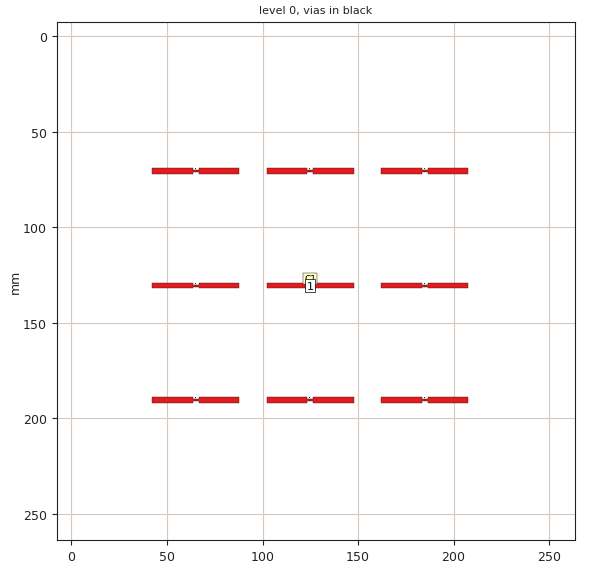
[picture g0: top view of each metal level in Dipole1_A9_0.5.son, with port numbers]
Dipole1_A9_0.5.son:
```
FTYP SONPROJ 19 ! Sonnet Project File
VER 18.53
HEADER
LIC SL637b08c1
DAT 12/05/2022 13:15:45
BUILT_BY_CREATED Unknown "Unknown Version" 09/08/2006 22:07:28
BUILT_BY_SAVED sonnet 18.53-Lite
MDATE 12/05/2022 12:35:30
HDATE 12/05/2022 12:35:30
END HEADER
DIM
ANG DEG
CAP PF
CON /OH
FREQ GHZ
IND NH
LNG MM
RES OH
END DIM
CONTROL
VARSWP
OPTIONS  -j
SPEED 1
CACHE_ABS 1
Q_ACC N
END CONTROL
GEO
TMET "Free Space" 0 FREESPACE 376.7303136 0 0 0
BMET "Free Space" 0 FREESPACE 376.7303136 0 0 0
MET "Cu35" 1 NOR 58000000 1 0.035 
BOX 2 256 256 2048 1024 20 0
      60 1 1 0 0 0 0 "Unnamed"
      1.54 4.3 1 0.015 0 0 0 "Unnamed"
      30 1 1 0 0 0 0 "Unnamed"
LORGN 0 256 U 
POR1 GAP
POLY 522 1
7
1 50 0 0 0 125 130.5 
SMD 0 "C1"
ID 530
GNDREF AUTO
SBOX 124.25 125.75 131.525 131.975
PBSHW N
LPOS 125 131.525
TYPE IDEAL CAP 0.5
SMDP 0 123.5 131.75 L 2 1 
EXSMDP
GNDREF AUTO
TERMW FEED
END EXSMDP
SMDP 0 126.5 131.75 R 3 2 
EXSMDP
GNDREF AUTO
TERMW FEED
END EXSMDP
END
NUM 36
0 9 0 N 520 1 1 100 100 0 0 0 Y
125 130
126.5 130
126.5 129
147.75 129
147.75 132
126.5 132
126.5 131
125 131
125 130
END
0 9 0 N 522 1 1 100 100 0 0 0 Y
125 130
123.5 130
123.5 129
102.25 129
102.25 132
123.5 132
123.5 131
125 131
125 130
END
VIA POLYGON
0 5 -1 N 551 1 1 100 100 0 0 0 Y
TOLEVEL 1 RING NOCOVERS
124.5 129
125 129
125 129.5
124.5 129.5
124.5 129
END
0 9 0 N 575 1 1 100 100 0 0 0 Y
125 70
123.5 70
123.5 69
102.25 69
102.25 72
123.5 72
123.5 71
125 71
125 70
END
0 9 0 N 576 1 1 100 100 0 0 0 Y
125 70
126.5 70
126.5 69
147.75 69
147.75 72
126.5 72
126.5 71
125 71
125 70
END
0 9 0 N 579 1 1 100 100 0 0 0 Y
125 190
123.5 190
123.5 189
102.25 189
102.25 192
123.5 192
123.5 191
125 191
125 190
END
0 9 0 N 581 1 1 100 100 0 0 0 Y
125 190
126.5 190
126.5 189
147.75 189
147.75 192
126.5 192
126.5 191
125 191
125 190
END
0 9 0 N 582 1 1 100 100 0 0 0 Y
65 190
66.5 190
66.5 189
87.75 189
87.75 192
66.5 192
66.5 191
65 191
65 190
END
0 9 0 N 583 1 1 100 100 0 0 0 Y
65 190
63.5 190
63.5 189
42.25 189
42.25 192
63.5 192
63.5 191
65 191
65 190
END
0 9 0 N 584 1 1 100 100 0 0 0 Y
65 130
66.5 130
66.5 129
87.75 129
87.75 132
66.5 132
66.5 131
65 131
65 130
END
0 9 0 N 585 1 1 100 100 0 0 0 Y
65 130
63.5 130
63.5 129
42.25 129
42.25 132
63.5 132
63.5 131
65 131
65 130
END
0 9 0 N 586 1 1 100 100 0 0 0 Y
65 70
66.5 70
66.5 69
87.75 69
87.75 72
66.5 72
66.5 71
65 71
65 70
END
0 9 0 N 587 1 1 100 100 0 0 0 Y
65 70
63.5 70
63.5 69
42.25 69
42.25 72
63.5 72
63.5 71
65 71
65 70
END
0 9 0 N 588 1 1 100 100 0 0 0 Y
185 70
183.5 70
183.5 69
162.25 69
162.25 72
183.5 72
183.5 71
185 71
185 70
END
0 9 0 N 589 1 1 100 100 0 0 0 Y
185 70
186.5 70
186.5 69
207.75 69
207.75 72
186.5 72
186.5 71
185 71
185 70
END
0 9 0 N 590 1 1 100 100 0 0 0 Y
185 130
183.5 130
183.5 129
162.25 129
162.25 132
183.5 132
183.5 131
185 131
185 130
END
0 9 0 N 591 1 1 100 100 0 0 0 Y
185 130
186.5 130
186.5 129
207.75 129
207.75 132
186.5 132
186.5 131
185 131
185 130
END
0 9 0 N 592 1 1 100 100 0 0 0 Y
185 190
183.5 190
183.5 189
162.25 189
162.25 192
183.5 192
183.5 191
185 191
185 190
END
0 9 0 N 593 1 1 100 100 0 0 0 Y
185 190
186.5 190
186.5 189
207.75 189
207.75 192
186.5 192
186.5 191
185 191
185 190
END
VIA POLYGON
0 5 -1 N 594 1 1 100 100 0 0 0 Y
TOLEVEL 1 RING NOCOVERS
124.5 69
125 69
125 69.5
124.5 69.5
124.5 69
END
VIA POLYGON
0 5 -1 N 595 1 1 100 100 0 0 0 Y
TOLEVEL 1 RING NOCOVERS
124.5 189
125 189
125 189.5
124.5 189.5
124.5 189
END
VIA POLYGON
0 5 -1 N 596 1 1 100 100 0 0 0 Y
TOLEVEL 1 RING NOCOVERS
64.5 189
65 189
65 189.5
64.5 189.5
64.5 189
END
VIA POLYGON
0 5 -1 N 597 1 1 100 100 0 0 0 Y
TOLEVEL 1 RING NOCOVERS
64.5 129
65 129
65 129.5
64.5 129.5
64.5 129
END
VIA POLYGON
0 5 -1 N 598 1 1 100 100 0 0 0 Y
TOLEVEL 1 RING NOCOVERS
64.5 69
65 69
65 69.5
64.5 69.5
64.5 69
END
VIA POLYGON
0 5 -1 N 599 1 1 100 100 0 0 0 Y
TOLEVEL 1 RING NOCOVERS
184.5 69
185 69
185 69.5
184.5 69.5
184.5 69
END
VIA POLYGON
0 5 -1 N 600 1 1 100 100 0 0 0 Y
TOLEVEL 1 RING NOCOVERS
184.5 129
185 129
185 129.5
184.5 129.5
184.5 129
END
VIA POLYGON
0 5 -1 N 601 1 1 100 100 0 0 0 Y
TOLEVEL 1 RING NOCOVERS
184.5 189
185 189
185 189.5
184.5 189.5
184.5 189
END
VIA POLYGON
1 5 -1 N 556 1 1 100 100 0 0 0 Y
TOLEVEL 2 RING NOCOVERS
125 129
125.5 129
125.5 129.5
125 129.5
125 129
END
VIA POLYGON
1 5 -1 N 602 1 1 100 100 0 0 0 Y
TOLEVEL 2 RING NOCOVERS
185 189
185.5 189
185.5 189.5
185 189.5
185 189
END
VIA POLYGON
1 5 -1 N 603 1 1 100 100 0 0 0 Y
TOLEVEL 2 RING NOCOVERS
185 129
185.5 129
185.5 129.5
185 129.5
185 129
END
VIA POLYGON
1 5 -1 N 604 1 1 100 100 0 0 0 Y
TOLEVEL 2 RING NOCOVERS
185 69
185.5 69
185.5 69.5
185 69.5
185 69
END
VIA POLYGON
1 5 -1 N 605 1 1 100 100 0 0 0 Y
TOLEVEL 2 RING NOCOVERS
125 69
125.5 69
125.5 69.5
125 69.5
125 69
END
VIA POLYGON
1 5 -1 N 606 1 1 100 100 0 0 0 Y
TOLEVEL 2 RING NOCOVERS
125 189
125.5 189
125.5 189.5
125 189.5
125 189
END
VIA POLYGON
1 5 -1 N 607 1 1 100 100 0 0 0 Y
TOLEVEL 2 RING NOCOVERS
65 189
65.5 189
65.5 189.5
65 189.5
65 189
END
VIA POLYGON
1 5 -1 N 608 1 1 100 100 0 0 0 Y
TOLEVEL 2 RING NOCOVERS
65 129
65.5 129
65.5 129.5
65 129.5
65 129
END
VIA POLYGON
1 5 -1 N 609 1 1 100 100 0 0 0 Y
TOLEVEL 2 RING NOCOVERS
65 69
65.5 69
65.5 69.5
65 69.5
65 69
END
END GEO
OPT
MAX 100
END OPT
VARSWP
ENABLED Y
FREQ Y AN STEP 2.45
FREQ Y AN ABS_ENTRY 1.0 4.0 -1 300 
FREQ Y AN SWEEP 2.0 3.0 0.01
END
END VARSWP
FILEOUT
FOLDER .
END FILEOUT
3DOPTIONS
GLOBAL 1
ALL 3 1
END 3DOPTIONS
```
